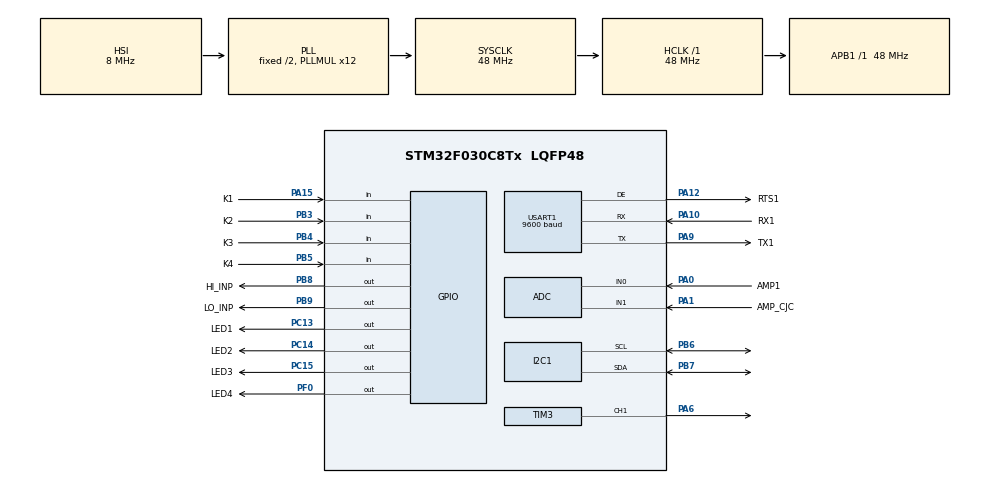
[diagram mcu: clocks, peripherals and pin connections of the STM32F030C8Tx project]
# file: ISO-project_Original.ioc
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ADC.ClockPrescaler=ADC_CLOCK_SYNC_PCLK_DIV4
ADC.ContinuousConvMode=ENABLE
ADC.DMAContinuousRequests=ENABLE
ADC.SamplingTime=ADC_SAMPLETIME_239CYCLES_5
Dma.ADC.0.Direction=DMA_PERIPH_TO_MEMORY
Dma.ADC.0.Instance=DMA1_Channel1
Dma.ADC.0.MemDataAlignment=DMA_MDATAALIGN_HALFWORD
Dma.ADC.0.MemInc=DMA_MINC_ENABLE
Dma.ADC.0.Mode=DMA_CIRCULAR
Dma.ADC.0.PeriphDataAlignment=DMA_PDATAALIGN_HALFWORD
Dma.ADC.0.PeriphInc=DMA_PINC_DISABLE
Dma.ADC.0.Priority=DMA_PRIORITY_VERY_HIGH
Dma.Request0=ADC
Dma.Request1=USART1_TX
Dma.Request2=USART1_RX
Dma.USART1_RX.2.Direction=DMA_PERIPH_TO_MEMORY
Dma.USART1_RX.2.Instance=DMA1_Channel3
Dma.USART1_RX.2.MemDataAlignment=DMA_MDATAALIGN_BYTE
Dma.USART1_RX.2.MemInc=DMA_MINC_ENABLE
Dma.USART1_RX.2.Mode=DMA_CIRCULAR
Dma.USART1_RX.2.PeriphDataAlignment=DMA_PDATAALIGN_BYTE
Dma.USART1_RX.2.PeriphInc=DMA_PINC_DISABLE
Dma.USART1_RX.2.Priority=DMA_PRIORITY_VERY_HIGH
Dma.USART1_TX.1.Direction=DMA_MEMORY_TO_PERIPH
Dma.USART1_TX.1.Instance=DMA1_Channel2
Dma.USART1_TX.1.MemDataAlignment=DMA_MDATAALIGN_BYTE
Dma.USART1_TX.1.MemInc=DMA_MINC_ENABLE
Dma.USART1_TX.1.Mode=DMA_NORMAL
Dma.USART1_TX.1.PeriphDataAlignment=DMA_PDATAALIGN_BYTE
Dma.USART1_TX.1.PeriphInc=DMA_PINC_DISABLE
Dma.USART1_TX.1.Priority=DMA_PRIORITY_MEDIUM
I2C1.Timing=0x00201D2B
Mcu.Family=STM32F0
Mcu.Name=STM32F030C8Tx
Mcu.Package=LQFP48
NVIC.DMA1_Channel1_IRQn=true\:0\:0\:true\:false\:true\:false\:true\:true
NVIC.DMA1_Channel2_3_IRQn=true\:1\:0\:true\:false\:true\:false\:true\:true
NVIC.I2C1_IRQn=true\:0\:0\:true\:false\:true\:true\:true\:true
NVIC.TIM3_IRQn=true\:3\:0\:true\:false\:true\:true\:true\:true
NVIC.USART1_IRQn=true\:1\:0\:true\:false\:true\:true\:true\:true
PA0.GPIO_Label=AMP1
PA0.Mode=IN0
PA0.Signal=ADC_IN0
PA1.GPIO_Label=AMP_CJC
PA1.Mode=IN1
PA1.Signal=ADC_IN1
PA10.GPIO_Label=RX1
PA10.Mode=Asynchronous
PA10.Signal=USART1_RX
PA12.GPIO_Label=RTS1
PA12.Mode=Hardware Flow Control (RS485)
PA12.Signal=USART1_DE
PA13.GPIO_Label=SWDIO
PA13.Mode=Serial_Wire
PA13.Signal=SYS_SWDIO
PA14.GPIO_Label=SWCLK
PA14.Mode=Serial_Wire
PA14.Signal=SYS_SWCLK
PA15.GPIO_Label=K1
PA15.GPIO_PuPd=GPIO_PULLUP
PA15.Signal=GPIO_Input
PA6.Signal=S_TIM3_CH1
PA9.GPIO_Label=TX1
PA9.Mode=Asynchronous
PA9.Signal=USART1_TX
PB3.GPIO_Label=K2
PB3.GPIO_PuPd=GPIO_PULLUP
PB3.Signal=GPIO_Input
PB4.GPIO_Label=K3
PB4.GPIO_PuPd=GPIO_PULLUP
PB4.Signal=GPIO_Input
PB5.GPIO_Label=K4
PB5.GPIO_PuPd=GPIO_PULLUP
PB5.Signal=GPIO_Input
PB6.Mode=I2C
PB6.Signal=I2C1_SCL
PB7.Mode=I2C
PB7.Signal=I2C1_SDA
PB8.GPIO_Label=HI_INP
PB8.Signal=GPIO_Output
PB9.GPIO_Label=LO_INP
PB9.Signal=GPIO_Output
PC13.GPIO_Label=LED1
PC13.Signal=GPIO_Output
PC14-OSC32_IN.GPIO_Label=LED2
PC14-OSC32_IN.Signal=GPIO_Output
PC15-OSC32_OUT.GPIO_Label=LED3
PC15-OSC32_OUT.Signal=GPIO_Output
PF0-OSC_IN.GPIO_Label=LED4
PF0-OSC_IN.Signal=GPIO_Output
ProjectManager.HeapSize=0x200
ProjectManager.StackSize=0x400
ProjectManager.TargetToolchain=STM32CubeIDE
RCC.AHBFreq_Value=48000000
RCC.APB1Freq_Value=48000000
RCC.APB1TimFreq_Value=48000000
RCC.HCLKFreq_Value=48000000
RCC.PLLMUL=RCC_PLL_MUL12
RCC.SYSCLKFreq_VALUE=48000000
RCC.SYSCLKSource=RCC_SYSCLKSOURCE_PLLCLK
SH.S_TIM3_CH1.0=TIM3_CH1,PWM Generation1 CH1
TIM14.Period=9
TIM14.Prescaler=47999
TIM3.AutoReloadPreload=TIM_AUTORELOAD_PRELOAD_ENABLE
TIM3.Channel-PWM\ Generation1\ CH1=TIM_CHANNEL_1
TIM3.Period=2000
TIM3.Prescaler=23
TIM3.Pulse-PWM\ Generation1\ CH1=500
USART1.BaudRate=9600
USART1.UART_DEAssertionTime=1
USART1.UART_DEDeassertionTime=1
USART1.VirtualMode-Asynchronous=VM_ASYNC
USART1.VirtualMode-Hardware\ Flow\ Control\ (RS485)=VM_ASYNC
VP_CRC_VS_CRC.Mode=CRC_Activate
VP_TIM14_VS_ClockSourceINT.Mode=Enable_Timer
VP_TIM3_VS_ClockSourceINT.Mode=Internal
board=custom

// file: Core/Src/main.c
///* USER CODE BEGIN Header */
///**
// ******************************************************************************
// * @file           : main.c
// * @brief          : Main program body
// ******************************************************************************
// * @attention
// *
// * Copyright (c) 2026 STMicroelectronics.
// * All rights reserved.
// *
// * This software is licensed under terms that can be found in the LICENSE file
// * in the root directory of this software component.
// * If no LICENSE file comes with this software, it is provided AS-IS.
// *
// ******************************************************************************
// */
///* USER CODE END Header */
///* Includes ------------------------------------------------------------------*/
//#include "main.h"
//#include "keyboard.h"
//#include "Fram.h"
//#include "ADC.h"
//#include "modbus.h"
//#include "Output.h"
//
///* Private includes ----------------------------------------------------------*/
///* USER CODE BEGIN Includes */
//#define NO_KEY 0x00
///* USER CODE END Includes */
//
///* Private typedef -----------------------------------------------------------*/
///* USER CODE BEGIN PTD */
//
///* USER CODE END PTD */
//
///* Private define ------------------------------------------------------------*/
///* USER CODE BEGIN PD */
//
///* USER CODE END PD */
//
///* Private macro -------------------------------------------------------------*/
///* USER CODE BEGIN PM */
//
///* USER CODE END PM */
//
///* Private variables ---------------------------------------------------------*/
//ADC_HandleTypeDef hadc;
//DMA_HandleTypeDef hdma_adc;
//
//CRC_HandleTypeDef hcrc;
//
//I2C_HandleTypeDef hi2c1;
//
//TIM_HandleTypeDef htim3;
//TIM_HandleTypeDef htim14;
//
//UART_HandleTypeDef huart1;
//DMA_HandleTypeDef hdma_usart1_tx;
//DMA_HandleTypeDef hdma_usart1_rx;
//
///* USER CODE BEGIN PV */
////extern I2C_HandleTypeDef hi2c1;  // From CubeMX
//FRAM_Config_t device_config;
//extern ADC_Handle_t ADCHandler;
////extern
///* USER CODE END PV */
//
///* Private function prototypes -----------------------------------------------*/
//void SystemClock_Config(void);
//static void MX_GPIO_Init(void);
//static void MX_DMA_Init(void);
//static void MX_ADC_Init(void);
//static void MX_CRC_Init(void);
//static void MX_I2C1_Init(void);
//static void MX_TIM3_Init(void);
//static void MX_TIM14_Init(void);
//static void MX_USART1_UART_Init(void);
//
//extern void ADC_Save_Calibration_To_Config(FRAM_Config_t *config);
//extern void ADC_Restore_Calibration_From_Config(FRAM_Config_t *config);
///* USER CODE BEGIN PFP */
//
///* USER CODE END PFP */
//
///* Private user code ---------------------------------------------------------*/
///* USER CODE BEGIN 0 */
//
///* USER CODE END 0 */
//
///**
// * @brief  The application entry point.
// * @retval int
// */
//int main(void)
//{
//
//	/* USER CODE BEGIN 1 */
//
//	/* USER CODE END 1 */
//
//	/* MCU Configuration--------------------------------------------------------*/
//
//	/* Reset of all peripherals, Initializes the Flash interface and the Systick. */
//	HAL_Init();
//
//	/* USER CODE BEGIN Init */
//
//	/* USER CODE END Init */
//
//	/* Configure the system clock */
//	SystemClock_Config();
//
//	/* USER CODE BEGIN SysInit */
//
//	/* USER CODE END SysInit */
//
//	/* Initialize all configured peripherals */
//	MX_GPIO_Init();
//	MX_DMA_Init();
//	MX_ADC_Init();
//	MX_CRC_Init();
//	MX_I2C1_Init();
//	MX_TIM3_Init();
//	MX_TIM14_Init();
//	MX_USART1_UART_Init();
//	/* USER CODE BEGIN 2 */
//	//	void PowerON_Initilization(void);
//	Keyboard_Init();
//	//	FRAM_Init(&hi2c1);
//	//	ADC_Init(&hadc);
//	// Try to initialize FRAM hardware
//	bool fram_ok = FRAM_Init(&hi2c1);
//
//	if (fram_ok) {
//		// FRAM hardware OK - try to read saved config
//		if (FRAM_Read_Config(&device_config)) {
//			// Config loaded from FRAM successfully
//			ADC_Restore_Calibration_From_Config(&device_config);
//			AnalogOutput_Set_Calibration(device_config.cal_output_lo,
//					device_config.cal_output_hi);
//			Keyboard_SetMode(MODE_NORMAL);
//		} else {
//			// FRAM read failed - config is corrupted or empty
//			// DON'T auto-restore - just set error mode
//			Keyboard_SetMode(MODE_MEMORY_CORRUPT);
//			// Device will use whatever values are in device_config structure
//		}
//	} else {
//		// FRAM hardware not responding
//		Keyboard_SetMode(MODE_MEMORY_CORRUPT);
//	}
//
//
//
//	//	HAL_StatusTypeDef ret = FRAM_Init(&hi2c1);
//	ADC_Init(&hadc);
//	Modbus_Init(&huart1);
//	AnalogOutput_Init(&htim3);
//
//	// Configure ADC from FRAM
//	ADC_Set_Sensor_Type(device_config.input_type);
//	ADC_Set_Range(device_config.input_low, device_config.input_high);
//	ADC_Set_Offset(device_config.offset_input);
//	//	Modbus_Set_Slave_ID(device_config.slave_id);
//	Modbus_Set_Slave_ID(1);
//	Modbus_Enable(1);
//	//	Modbus_Enable(device_config.comm_enable);
//
//
//	AnalogOutput_Set_Range(device_config.output_low, device_config.output_high);
//	AnalogOutput_Set_Direction(device_config.output_direction);
//	AnalogOutput_Set_Offset(device_config.offset_output);
//	AnalogOutput_Set_Decimal(device_config.output_decimal);
//	/* USER CODE END 2 */
//
//	/* Infinite loop */
//	/* USER CODE BEGIN WHILE */
//	while (1)
//	{
//		/* USER CODE END WHILE */
//
//		/* USER CODE BEGIN 3 */
//
//		ADC_Process();  // Process ADC readings
//		Modbus_Process();
//
//		// ===== REFERENCE PATTERN START =====
//		Keyboard.KeyPressed = Read_Keys();
//
//		if (Keyboard.KeyPressed == NO_KEY) {
//			// Reset fast value change counter when no key pressed
//			Keyboard.New_Val = 0;
//		}
//		else {
//			// Key is pressed
//
//			// Check for power-on combination
//			Keyboard_Scan();  // Handles K3+K4 at power-on
//
//			// Process based on calibration mode
//			if (CAL_Flag == NORMAL_MODE) {
//				Keycheck_Normal();       // Process normal mode keys (includes long-press combos)
//			}
//			else if (CAL_Flag == CAL_MODE) {
//				Keycheck_Calibration();  // Process calibration mode keys
//			}
//
//			// Wait for key release (except for UP/DOWN which can repeat)
////			if ((Keyboard.KeyPressed != KEY_DOWN) && (Keyboard.KeyPressed != KEY_UP)) {
////				while (Read_key() != NO_KEY);
////			}
//
////			if ((Keyboard.KeyPressed != KEY_DOWN) && (Keyboard.KeyPressed != KEY_UP)) {
////			    Keyboard.KeyPressed = NO_KEY;  // ✓ Just clear it, don't block
////			}//05/03/2026
//
//
//			/*if (Keyboard.KeyPressed == KEY_ENTER) {
//				while (Read_Keys() & KEY_ENTER) {
//					HAL_Delay(10);
//				}
//				HAL_Delay(50);  // debounce after release
//				Keyboard.KeyPressed = NO_KEY;
//			}
//			else*/ if ((Keyboard.KeyPressed != KEY_DOWN) && (Keyboard.KeyPressed != KEY_UP)) {
//			    Keyboard.KeyPressed = NO_KEY;
//			}
//		}
//
//		Keyboard_LED_Update();  // Update LED patterns
//		// ===== REFERENCE PATTERN END =====
//
//		// FRAM write handling
//		if (ModbusHandler.pending_fram_write) {
//			HAL_Delay(50);
//			bool write_ok = FRAM_Write_Config(&device_config);
//			ModbusHandler.pending_fram_write = false;
//			if (write_ok) {
//				HAL_GPIO_TogglePin(LED1_GPIO_Port, LED1_Pin);
//			}
//		}
//
//		// Check for sensor fault
//		bool sensor_fault = ADC_Is_Sensor_Fault();
//		AnalogOutput_Set_Fault(sensor_fault);
//
////		if (sensor_fault) {
////			Keyboard_SetMode(MODE_SENSOR_BROKE);
////		}
//
//		// Get current mode
//		    OperationMode_e current_mode = Keyboard_GetMode();
//
//		    if (sensor_fault) {
//		        // Fault detected - go to fault mode (but preserve calibration modes!)
////		        if (current_mode != MODE_INPUT_CAL_LOW &&
////		            current_mode != MODE_INPUT_CAL_HIGH &&
////		            current_mode != MODE_OUTPUT_CAL_LOW &&
////		            current_mode != MODE_OUTPUT_CAL_HIGH)
//		    	if (current_mode != MODE_INPUT_CAL      &&
//		    	        current_mode != MODE_INPUT_CAL_LOW  &&
//		    	        current_mode != MODE_INPUT_CAL_HIGH &&
//		    	        current_mode != MODE_INPUT_CAL_DONE &&
//		    	        current_mode != MODE_OUTPUT_CAL     &&
//		    	        current_mode != MODE_OUTPUT_CAL_LOW &&
//		    	        current_mode != MODE_OUTPUT_CAL_HIGH&&
//		    	        current_mode != MODE_OUTPUT_CAL_DONE){
//		            Keyboard_SetMode(MODE_SENSOR_BROKE);
//		        }
//		    } else {
//		        // Fault cleared - AUTO-RECOVER to normal mode!
//		        if (current_mode == MODE_SENSOR_BROKE) {
//		            Keyboard_SetMode(MODE_NORMAL);  // ← AUTO-RECOVERY!
//		        }
//		    }
//
//
//
//		// Update analog output
//		float input_value = ADC_Get_Float_Value();
//		AnalogOutput_Update(input_value,
//				(float)device_config.input_low,
//				(float)device_config.input_high);
//
//		// Handle calibration value changes
//		OperationMode_e mode = Keyboard_GetMode();
//		uint8_t key = Keyboard.KeyPressed;  // From structure now
//
//
//
//		switch (mode) {
//		case MODE_INPUT_CAL_LOW:
//			if (key == KEY_UP) {
//			        if (device_config.cal_input_lo < 65535) device_config.cal_input_lo++;
//			        if (Keyboard.Fast_Value_Change) {
//			            Fast_value_Inc();
//			            if (device_config.cal_input_lo > (65535 - Keyboard.New_Val))
//			                device_config.cal_input_lo = 65535;
//			            else
//			                device_config.cal_input_lo += Keyboard.New_Val;
//			        }
//			    }
//			    if (key == KEY_DOWN) {
//			        if (device_config.cal_input_lo > 0) device_config.cal_input_lo--;   // guard underflow
//			        if (Keyboard.Fast_Value_Change) {
//			            Fast_value_Dec();
//			            if (device_config.cal_input_lo >= Keyboard.New_Val)
//			                device_config.cal_input_lo -= Keyboard.New_Val;
//			            else
//			                device_config.cal_input_lo = 0;
//			        }
//			    }
//			    device_config.Inp_Cal_code1 = ADCHandler.adc_raw;
//			    break;
//
//		case MODE_INPUT_CAL_HIGH:
//			 if (key == KEY_UP) {
//			        if (device_config.cal_input_hi < 65535) device_config.cal_input_hi++;
//			        if (Keyboard.Fast_Value_Change) {
//			            Fast_value_Inc();
//			            if (device_config.cal_input_hi > (65535 - Keyboard.New_Val))
//			                device_config.cal_input_hi = 65535;
//			            else
//			                device_config.cal_input_hi += Keyboard.New_Val;
//			        }
//			    }
//			    if (key == KEY_DOWN) {
//			        if (device_config.cal_input_hi > 0) device_config.cal_input_hi--;
//			        if (Keyboard.Fast_Value_Change) {
//			            Fast_value_Dec();
//			            if (device_config.cal_input_hi >= Keyboard.New_Val)
//			                device_config.cal_input_hi -= Keyboard.New_Val;
//			            else
//			                device_config.cal_input_hi = 0;
//			        }
//			    }
//			    device_config.Inp_Cal_code2 = ADCHandler.adc_raw;
//			    break;
//		case MODE_OUTPUT_CAL_LOW:
//
//			AnalogOutput_Calibration_Bypass(true);
//
//			    if (key == KEY_UP) {
//			        if (device_config.cal_output_lo < 2000) device_config.cal_output_lo++;
//			        if (Keyboard.Fast_Value_Change) {
//			            Fast_value_Inc();
//			            device_config.cal_output_lo += Keyboard.New_Val;
//			            if (device_config.cal_output_lo > 2000) device_config.cal_output_lo = 2000;
//			        }
//			    }
//			    if (key == KEY_DOWN) {
//			        if (device_config.cal_output_lo > 0) device_config.cal_output_lo--;   // guard underflow
//			        if (Keyboard.Fast_Value_Change) {
//			            Fast_value_Dec();
//			            if (device_config.cal_output_lo >= Keyboard.New_Val)
//			                device_config.cal_output_lo -= Keyboard.New_Val;
//			            else
//			                device_config.cal_output_lo = 0;                              // floor, don't wrap
//			        }
//			    }
//
//			    AnalogOutput_Set_Raw_PWM(device_config.cal_output_lo);
//			    break;
//
//		case MODE_OUTPUT_CAL_HIGH:
//
//			AnalogOutput_Calibration_Bypass(true);
//
//			    if (key == KEY_UP) {
//			        if (device_config.cal_output_hi < 2000) device_config.cal_output_hi++;
//			        if (Keyboard.Fast_Value_Change) {
//			            Fast_value_Inc();
//			            device_config.cal_output_hi += Keyboard.New_Val;
//			            if (device_config.cal_output_hi > 2000) device_config.cal_output_hi = 2000;
//			        }
//			    }
//			    if (key == KEY_DOWN) {
//			        if (device_config.cal_output_hi > 0) device_config.cal_output_hi--;
//			        if (Keyboard.Fast_Value_Change) {
//			            Fast_value_Dec();
//			            if (device_config.cal_output_hi >= Keyboard.New_Val)
//			                device_config.cal_output_hi -= Keyboard.New_Val;
//			            else
//			                device_config.cal_output_hi = 0;
//			        }
//			    }
//
//			    AnalogOutput_Set_Raw_PWM(device_config.cal_output_hi);
//			    break;
//
//		case MODE_INPUT_CAL_DONE:
//		    ADC_Calibrate((float)device_config.cal_input_lo,
//		            (float)device_config.cal_input_hi,
//		            (float)device_config.Inp_Cal_code1,
//		            (float)device_config.Inp_Cal_code2);
//
//		    ADC_Save_Calibration_To_Config(&device_config);
//		    FRAM_Write_Config(&device_config);
//		    break;
//
//		case MODE_OUTPUT_CAL_DONE:
//		    // Disable bypass mode - return to normal temperature scaling
//		    AnalogOutput_Calibration_Bypass(false);
//
//		    // Apply the final calibration values
//		    AnalogOutput_Set_Calibration(device_config.cal_output_lo,
//		                                 device_config.cal_output_hi);
//
//		    // Save to FRAM
//		    FRAM_Write_Config(&device_config);
//		    break;
//
//		case MODE_RESTORE_CAL:
//		    // Restore factory defaults
//		    FRAM_Restore_Defaults();
//
//		    // Read back the defaults
//		    FRAM_Read_Config(&device_config);
//
//		    // Restore ADC calibration
//		    ADC_Restore_Calibration_From_Config(&device_config);
//
//		    // Restore PWM calibration
//		    AnalogOutput_Set_Calibration(device_config.cal_output_lo,
//		                                 device_config.cal_output_hi);
//		    break;
//
//
//		case MODE_PWM_TEST:
//		{
//		    static uint16_t pwm_test_value = 0;   // Start at 0, not 500
//
//		    AnalogOutput_Calibration_Bypass(true);
//
//		    if (key == KEY_UP) {
//		        if (pwm_test_value < 2000) pwm_test_value++;   // Guard before increment
//		        if (Keyboard.Fast_Value_Change) {
//		            Fast_value_Inc();
//		            pwm_test_value += Keyboard.New_Val;
//		            if (pwm_test_value > 2000) pwm_test_value = 2000;
//		        }
//		    }
//		    if (key == KEY_DOWN) {
//		        if (pwm_test_value > 0) pwm_test_value--;      // Guard: uint16_t can't go negative
//		        if (Keyboard.Fast_Value_Change) {
//		            Fast_value_Dec();
//		            if (pwm_test_value >= Keyboard.New_Val)
//		                pwm_test_value -= Keyboard.New_Val;
//		            else
//		                pwm_test_value = 0;
//		        }
//		    }
//
//		    AnalogOutput_Set_Raw_PWM(pwm_test_value);
//
//		    if (key == KEY_ENTER) {
//		        pwm_test_value = 0;                            // Reset for next entry
//		        AnalogOutput_Calibration_Bypass(false);
//		        Keyboard_SetMode(MODE_NORMAL);
//		    }
//		}
//		break;
//
//
//
//
//		default:
//		    break;
//		}
//
//
//
//		HAL_Delay(10);
//	}
//	/* USER CODE END 3 */
//}
//
///**
// * @brief System Clock Configuration
// * @retval None
// */
//void SystemClock_Config(void)
//{
//	RCC_OscInitTypeDef RCC_OscInitStruct = {0};
//	RCC_ClkInitTypeDef RCC_ClkInitStruct = {0};
//	RCC_PeriphCLKInitTypeDef PeriphClkInit = {0};
//
//	/** Initializes the RCC Oscillators according to the specified parameters
//	 * in the RCC_OscInitTypeDef structure.
//	 */
//	RCC_OscInitStruct.OscillatorType = RCC_OSCILLATORTYPE_HSI;
//	RCC_OscInitStruct.HSIState = RCC_HSI_ON;
//	RCC_OscInitStruct.HSICalibrationValue = RCC_HSICALIBRATION_DEFAULT;
//	RCC_OscInitStruct.PLL.PLLState = RCC_PLL_ON;
//	RCC_OscInitStruct.PLL.PLLSource = RCC_PLLSOURCE_HSI;
//	RCC_OscInitStruct.PLL.PLLMUL = RCC_PLL_MUL12;
//	RCC_OscInitStruct.PLL.PREDIV = RCC_PREDIV_DIV1;
//	if (HAL_RCC_OscConfig(&RCC_OscInitStruct) != HAL_OK)
//	{
//		Error_Handler();
//	}
//
//	/** Initializes the CPU, AHB and APB buses clocks
//	 */
//	RCC_ClkInitStruct.ClockType = RCC_CLOCKTYPE_HCLK|RCC_CLOCKTYPE_SYSCLK
//			|RCC_CLOCKTYPE_PCLK1;
//	RCC_ClkInitStruct.SYSCLKSource = RCC_SYSCLKSOURCE_PLLCLK;
//	RCC_ClkInitStruct.AHBCLKDivider = RCC_SYSCLK_DIV1;
//	RCC_ClkInitStruct.APB1CLKDivider = RCC_HCLK_DIV1;
//
//	if (HAL_RCC_ClockConfig(&RCC_ClkInitStruct, FLASH_LATENCY_1) != HAL_OK)
//	{
//		Error_Handler();
//	}
//	PeriphClkInit.PeriphClockSelection = RCC_PERIPHCLK_USART1|RCC_PERIPHCLK_I2C1;
//	PeriphClkInit.Usart1ClockSelection = RCC_USART1CLKSOURCE_PCLK1;
//	PeriphClkInit.I2c1ClockSelection = RCC_I2C1CLKSOURCE_HSI;
//	if (HAL_RCCEx_PeriphCLKConfig(&PeriphClkInit) != HAL_OK)
//	{
//		Error_Handler();
//	}
//}
//
///**
// * @brief ADC Initialization Function
// * @param None
// * @retval None
// */
//static void MX_ADC_Init(void)
//{
//
//	/* USER CODE BEGIN ADC_Init 0 */
//
//	/* USER CODE END ADC_Init 0 */
//
//	ADC_ChannelConfTypeDef sConfig = {0};
//
//	/* USER CODE BEGIN ADC_Init 1 */
//
//	/* USER CODE END ADC_Init 1 */
//
//	/** Configure the global features of the ADC (Clock, Resolution, Data Alignment and number of conversion)
//	 */
//	hadc.Instance = ADC1;
//	hadc.Init.ClockPrescaler = ADC_CLOCK_SYNC_PCLK_DIV4;
//	hadc.Init.Resolution = ADC_RESOLUTION_12B;
//	hadc.Init.DataAlign = ADC_DATAALIGN_RIGHT;
//	hadc.Init.ScanConvMode = ADC_SCAN_DIRECTION_FORWARD;
//	hadc.Init.EOCSelection = ADC_EOC_SINGLE_CONV;
//	hadc.Init.LowPowerAutoWait = DISABLE;
//	hadc.Init.LowPowerAutoPowerOff = DISABLE;
//	hadc.Init.ContinuousConvMode = ENABLE;
//	hadc.Init.DiscontinuousConvMode = DISABLE;
//	hadc.Init.ExternalTrigConv = ADC_SOFTWARE_START;
//	hadc.Init.ExternalTrigConvEdge = ADC_EXTERNALTRIGCONVEDGE_NONE;
//	hadc.Init.DMAContinuousRequests = ENABLE;
//	hadc.Init.Overrun = ADC_OVR_DATA_PRESERVED;
//	if (HAL_ADC_Init(&hadc) != HAL_OK)
//	{
//		Error_Handler();
//	}
//
//	/** Configure for the selected ADC regular channel to be converted.
//	 */
//	sConfig.Channel = ADC_CHANNEL_0;
//	sConfig.Rank = ADC_RANK_CHANNEL_NUMBER;
//	sConfig.SamplingTime = ADC_SAMPLETIME_239CYCLES_5;
//	if (HAL_ADC_ConfigChannel(&hadc, &sConfig) != HAL_OK)
//	{
//		Error_Handler();
//	}
//
//	/** Configure for the selected ADC regular channel to be converted.
//	 */
//	sConfig.Channel = ADC_CHANNEL_1;
//	if (HAL_ADC_ConfigChannel(&hadc, &sConfig) != HAL_OK)
//	{
//		Error_Handler();
//	}
//	/* USER CODE BEGIN ADC_Init 2 */
//
//	/* USER CODE END ADC_Init 2 */
//
//}
//
///**
// * @brief CRC Initialization Function
// * @param None
// * @retval None
// */
//static void MX_CRC_Init(void)
//{
//
//	/* USER CODE BEGIN CRC_Init 0 */
//
//	/* USER CODE END CRC_Init 0 */
//
//	/* USER CODE BEGIN CRC_Init 1 */
//
//	/* USER CODE END CRC_Init 1 */
//	hcrc.Instance = CRC;
//	hcrc.Init.DefaultInitValueUse = DEFAULT_INIT_VALUE_ENABLE;
//	hcrc.Init.InputDataInversionMode = CRC_INPUTDATA_INVERSION_NONE;
//	hcrc.Init.OutputDataInversionMode = CRC_OUTPUTDATA_INVERSION_DISABLE;
//	hcrc.InputDataFormat = CRC_INPUTDATA_FORMAT_BYTES;
//	if (HAL_CRC_Init(&hcrc) != HAL_OK)
//	{
//		Error_Handler();
//	}
//	/* USER CODE BEGIN CRC_Init 2 */
//
//	/* USER CODE END CRC_Init 2 */
//
//}
//
///**
// * @brief I2C1 Initialization Function
// * @param None
// * @retval None
// */
//static void MX_I2C1_Init(void)
//{
//
//	/* USER CODE BEGIN I2C1_Init 0 */
//
//	/* USER CODE END I2C1_Init 0 */
//
//	/* USER CODE BEGIN I2C1_Init 1 */
//
//	/* USER CODE END I2C1_Init 1 */
//	hi2c1.Instance = I2C1;
//	hi2c1.Init.Timing = 0x00201D2B;
//	hi2c1.Init.OwnAddress1 = 0;
//	hi2c1.Init.AddressingMode = I2C_ADDRESSINGMODE_7BIT;
//	hi2c1.Init.DualAddressMode = I2C_DUALADDRESS_DISABLE;
//	hi2c1.Init.OwnAddress2 = 0;
//	hi2c1.Init.OwnAddress2Masks = I2C_OA2_NOMASK;
//	hi2c1.Init.GeneralCallMode = I2C_GENERALCALL_DISABLE;
//	hi2c1.Init.NoStretchMode = I2C_NOSTRETCH_DISABLE;
//	if (HAL_I2C_Init(&hi2c1) != HAL_OK)
//	{
//		Error_Handler();
//	}
//
//	/** Configure Analogue filter
//	 */
//	if (HAL_I2CEx_ConfigAnalogFilter(&hi2c1, I2C_ANALOGFILTER_ENABLE) != HAL_OK)
//	{
//		Error_Handler();
//	}
//
//	/** Configure Digital filter
//	 */
//	if (HAL_I2CEx_ConfigDigitalFilter(&hi2c1, 0) != HAL_OK)
//	{
//		Error_Handler();
//	}
//	/* USER CODE BEGIN I2C1_Init 2 */
//
//	/* USER CODE END I2C1_Init 2 */
//
//}
//
///**
// * @brief TIM3 Initialization Function
// * @param None
// * @retval None
// */
//static void MX_TIM3_Init(void)
//{
//
//	/* USER CODE BEGIN TIM3_Init 0 */
//
//	/* USER CODE END TIM3_Init 0 */
//
//	TIM_ClockConfigTypeDef sClockSourceConfig = {0};
//	TIM_MasterConfigTypeDef sMasterConfig = {0};
//	TIM_OC_InitTypeDef sConfigOC = {0};
//
//	/* USER CODE BEGIN TIM3_Init 1 */
//
//	/* USER CODE END TIM3_Init 1 */
//	htim3.Instance = TIM3;
//	htim3.Init.Prescaler = 11;//23;
//	htim3.Init.CounterMode = TIM_COUNTERMODE_UP;
//	htim3.Init.Period = 2000;
//			//1000;
//	htim3.Init.ClockDivision = TIM_CLOCKDIVISION_DIV1;
//	htim3.Init.AutoReloadPreload = TIM_AUTORELOAD_PRELOAD_ENABLE;
//	if (HAL_TIM_Base_Init(&htim3) != HAL_OK)
//	{
//		Error_Handler();
//	}
//	sClockSourceConfig.ClockSource = TIM_CLOCKSOURCE_INTERNAL;
//	if (HAL_TIM_ConfigClockSource(&htim3, &sClockSourceConfig) != HAL_OK)
//	{
//		Error_Handler();
//	}
//	if (HAL_TIM_PWM_Init(&htim3) != HAL_OK)
//	{
//		Error_Handler();
//	}
//	sMasterConfig.MasterOutputTrigger = TIM_TRGO_RESET;
//	sMasterConfig.MasterSlaveMode = TIM_MASTERSLAVEMODE_DISABLE;
//	if (HAL_TIMEx_MasterConfigSynchronization(&htim3, &sMasterConfig) != HAL_OK)
//	{
//		Error_Handler();
//	}
//	sConfigOC.OCMode = TIM_OCMODE_PWM1;
//	sConfigOC.Pulse = 0;
//	sConfigOC.OCPolarity = TIM_OCPOLARITY_HIGH;
//	sConfigOC.OCFastMode = TIM_OCFAST_DISABLE;
//	if (HAL_TIM_PWM_ConfigChannel(&htim3, &sConfigOC, TIM_CHANNEL_1) != HAL_OK)
//	{
//		Error_Handler();
//	}
//	/* USER CODE BEGIN TIM3_Init 2 */
//
//	/* USER CODE END TIM3_Init 2 */
//	HAL_TIM_MspPostInit(&htim3);
//
//}
//
///**
// * @brief TIM14 Initialization Function
// * @param None
// * @retval None
// */
//static void MX_TIM14_Init(void)
//{
//
//	/* USER CODE BEGIN TIM14_Init 0 */
//
//	/* USER CODE END TIM14_Init 0 */
//
//	/* USER CODE BEGIN TIM14_Init 1 */
//
//	/* USER CODE END TIM14_Init 1 */
//	htim14.Instance = TIM14;
//	htim14.Init.Prescaler = 47999;
//	htim14.Init.CounterMode = TIM_COUNTERMODE_UP;
//	htim14.Init.Period = 9;
//	htim14.Init.ClockDivision = TIM_CLOCKDIVISION_DIV1;
//	htim14.Init.AutoReloadPreload = TIM_AUTORELOAD_PRELOAD_DISABLE;
//	if (HAL_TIM_Base_Init(&htim14) != HAL_OK)
//	{
//		Error_Handler();
//	}
//	/* USER CODE BEGIN TIM14_Init 2 */
//
//	/* USER CODE END TIM14_Init 2 */
//
//}
//
///**
// * @brief USART1 Initialization Function
// * @param None
// * @retval None
// */
//static void MX_USART1_UART_Init(void)
//{
//
//	/* USER CODE BEGIN USART1_Init 0 */
//
//	/* USER CODE END USART1_Init 0 */
//
//	/* USER CODE BEGIN USART1_Init 1 */
//
//	/* USER CODE END USART1_Init 1 */
//	huart1.Instance = USART1;
//	huart1.Init.BaudRate = 9600;
//	huart1.Init.WordLength = UART_WORDLENGTH_8B;
//	huart1.Init.StopBits = UART_STOPBITS_1;
//	huart1.Init.Parity = UART_PARITY_NONE;
//	huart1.Init.Mode = UART_MODE_TX_RX;
//	huart1.Init.HwFlowCtl = UART_HWCONTROL_NONE;
//	huart1.Init.OverSampling = UART_OVERSAMPLING_16;
//	huart1.Init.OneBitSampling = UART_ONE_BIT_SAMPLE_DISABLE;
//	huart1.AdvancedInit.AdvFeatureInit = UART_ADVFEATURE_NO_INIT;
//	if (HAL_RS485Ex_Init(&huart1, UART_DE_POLARITY_HIGH, 1, 1) != HAL_OK)
//	{
//		Error_Handler();
//	}
//	/* USER CODE BEGIN USART1_Init 2 */
//
//	/* USER CODE END USART1_Init 2 */
//
//}
//
///**
// * Enable DMA controller clock
// */
//static void MX_DMA_Init(void)
//{
//
//	/* DMA controller clock enable */
//	__HAL_RCC_DMA1_CLK_ENABLE();
//
//	/* DMA interrupt init */
//	/* DMA1_Channel1_IRQn interrupt configuration */
//	HAL_NVIC_SetPriority(DMA1_Channel1_IRQn, 0, 0);
//	HAL_NVIC_EnableIRQ(DMA1_Channel1_IRQn);
//	/* DMA1_Channel2_3_IRQn interrupt configuration */
//	HAL_NVIC_SetPriority(DMA1_Channel2_3_IRQn, 1, 0);
//	HAL_NVIC_EnableIRQ(DMA1_Channel2_3_IRQn);
//
//}
//
///**
// * @brief GPIO Initialization Function
// * @param None
// * @retval None
// */
//static void MX_GPIO_Init(void)
//{
//	GPIO_InitTypeDef GPIO_InitStruct = {0};
//	/* USER CODE BEGIN MX_GPIO_Init_1 */
//
//	/* USER CODE END MX_GPIO_Init_1 */
//
//	/* GPIO Ports Clock Enable */
//	__HAL_RCC_GPIOC_CLK_ENABLE();
//	__HAL_RCC_GPIOF_CLK_ENABLE();
//	__HAL_RCC_GPIOA_CLK_ENABLE();
//	__HAL_RCC_GPIOB_CLK_ENABLE();
//
//	/*Configure GPIO pin Output Level */
//	HAL_GPIO_WritePin(GPIOC, LED1_Pin|LED2_Pin|LED3_Pin, GPIO_PIN_RESET);
//
//	/*Configure GPIO pin Output Level */
//	HAL_GPIO_WritePin(LED4_GPIO_Port, LED4_Pin, GPIO_PIN_RESET);
//
//	/*Configure GPIO pin Output Level */
//	HAL_GPIO_WritePin(GPIOB, HI_INP_Pin|LO_INP_Pin, GPIO_PIN_RESET);
//
//	/*Configure GPIO pins : LED1_Pin LED2_Pin LED3_Pin */
//	GPIO_InitStruct.Pin = LED1_Pin|LED2_Pin|LED3_Pin;
//	GPIO_InitStruct.Mode = GPIO_MODE_OUTPUT_PP;
//	GPIO_InitStruct.Pull = GPIO_NOPULL;
//	GPIO_InitStruct.Speed = GPIO_SPEED_FREQ_LOW;
//	HAL_GPIO_Init(GPIOC, &GPIO_InitStruct);
//
//	/*Configure GPIO pin : LED4_Pin */
//	GPIO_InitStruct.Pin = LED4_Pin;
//	GPIO_InitStruct.Mode = GPIO_MODE_OUTPUT_PP;
//	GPIO_InitStruct.Pull = GPIO_NOPULL;
//	GPIO_InitStruct.Speed = GPIO_SPEED_FREQ_LOW;
//	HAL_GPIO_Init(LED4_GPIO_Port, &GPIO_InitStruct);
//
//	/*Configure GPIO pin : K1_Pin */
//	GPIO_InitStruct.Pin = K1_Pin;
//	GPIO_InitStruct.Mode = GPIO_MODE_INPUT;
//	GPIO_InitStruct.Pull = GPIO_PULLUP;
//	HAL_GPIO_Init(K1_GPIO_Port, &GPIO_InitStruct);
//
//	/*Configure GPIO pins : K2_Pin K3_Pin K4_Pin */
//	GPIO_InitStruct.Pin = K2_Pin|K3_Pin|K4_Pin;
//	GPIO_InitStruct.Mode = GPIO_MODE_INPUT;
//	GPIO_InitStruct.Pull = GPIO_PULLUP;
//	HAL_GPIO_Init(GPIOB, &GPIO_InitStruct);
//
//	/*Configure GPIO pins : HI_INP_Pin LO_INP_Pin */
//	GPIO_InitStruct.Pin = HI_INP_Pin|LO_INP_Pin;
//	GPIO_InitStruct.Mode = GPIO_MODE_OUTPUT_PP;
//	GPIO_InitStruct.Pull = GPIO_NOPULL;
//	GPIO_InitStruct.Speed = GPIO_SPEED_FREQ_LOW;
//	HAL_GPIO_Init(GPIOB, &GPIO_InitStruct);
//
//	/* USER CODE BEGIN MX_GPIO_Init_2 */
//	HAL_GPIO_WritePin(GPIOC, LED1_Pin|LED2_Pin|LED3_Pin, GPIO_PIN_SET);
//	HAL_GPIO_WritePin(GPIOB, HI_INP_Pin|LO_INP_Pin, GPIO_PIN_SET);
//	HAL_GPIO_WritePin(LED4_GPIO_Port, LED4_Pin, GPIO_PIN_SET);
//
//	/* USER CODE END MX_GPIO_Init_2 */
//}
//
///* USER CODE BEGIN 4 */
//
///* USER CODE END 4 */
//
///**
// * @brief  This function is executed in case of error occurrence.
// * @retval None
// */
//void Error_Handler(void)
//{
//	/* USER CODE BEGIN Error_Handler_Debug */
//	/* User can add his own implementation to report the HAL error return state */
//	__disable_irq();
//	while (1)
//	{
//	}
//	/* USER CODE END Error_Handler_Debug */
//}
//
//#ifdef  USE_FULL_ASSERT
///**
// * @brief  Reports the name of the source file and the source line number
// *         where the assert_param error has occurred.
// * @param  file: pointer to the source file name
// * @param  line: assert_param error line source number
// * @retval None
// */
//void assert_failed(uint8_t *file, uint32_t line)
//{
//	/* USER CODE BEGIN 6 */
//	/* User can add his own implementation to report the file name and line number,
//     ex: printf("Wrong parameters value: file %s on line %d\r\n", file, line) */
//	/* USER CODE END 6 */
//}
//#endif /* USE_FULL_ASSERT */
/* USER CODE BEGIN Header */
/**
 ******************************************************************************
 * @file           : main.c
 * @brief          : Main program body
 ******************************************************************************
 * @attention
 *
 * Copyright (c) 2026 STMicroelectronics.
 * All rights reserved.
 *
 * This software is licensed under terms that can be found in the LICENSE file
 * in the root directory of this software component.
 * If no LICENSE file comes with this software, it is provided AS-IS.
 *
 ******************************************************************************
 */
/* USER CODE END Header */
#include "main.h"
#include "keyboard.h"
#include "Fram.h"
#include "ADC.h"
#include "modbus.h"
#include "Output.h"

/* USER CODE BEGIN Includes */
#define NO_KEY 0x00
/* USER CODE END Includes */

ADC_HandleTypeDef hadc;
DMA_HandleTypeDef hdma_adc;

CRC_HandleTypeDef hcrc;

I2C_HandleTypeDef hi2c1;

TIM_HandleTypeDef htim3;
TIM_HandleTypeDef htim14;

UART_HandleTypeDef huart1;
DMA_HandleTypeDef hdma_usart1_tx;
DMA_HandleTypeDef hdma_usart1_rx;

/* USER CODE BEGIN PV */
//extern I2C_HandleTypeDef hi2c1;  // From CubeMX
FRAM_Config_t device_config;
extern ADC_Handle_t ADCHandler;
//extern
/* USER CODE END PV */

void SystemClock_Config(void);
static void MX_GPIO_Init(void);
static void MX_DMA_Init(void);
static void MX_ADC_Init(void);
static void MX_CRC_Init(void);
static void MX_I2C1_Init(void);
static void MX_TIM3_Init(void);
static void MX_TIM14_Init(void);
static void MX_USART1_UART_Init(void);

extern void ADC_Save_Calibration_To_Config(FRAM_Config_t *config);
extern void ADC_Restore_Calibration_From_Config(FRAM_Config_t *config);

int main(void)
{

	/* MCU Configuration--------------------------------------------------------*/

	/* Reset of all peripherals, Initializes the Flash interface and the Systick. */
	HAL_Init();

	/* Configure the system clock */
	SystemClock_Config();

	/* Initialize all configured peripherals */
	MX_GPIO_Init();
	MX_DMA_Init();
	MX_ADC_Init();
	MX_CRC_Init();
	MX_I2C1_Init();
	MX_TIM3_Init();
	MX_TIM14_Init();
	MX_USART1_UART_Init();
	/* USER CODE BEGIN 2 */
	//	void PowerON_Initilization(void);
	Keyboard_Init();
	//	FRAM_Init(&hi2c1);
	//	ADC_Init(&hadc);
	// Try to initialize FRAM hardware
	bool fram_ok = FRAM_Init(&hi2c1);

	if (fram_ok) {
		// FRAM hardware OK - try to read saved config
		if (FRAM_Read_Config(&device_config)) {
			// Config loaded from FRAM successfully
			ADC_Restore_Calibration_From_Config(&device_config);
			AnalogOutput_Set_Calibration(device_config.cal_output_lo,
					device_config.cal_output_hi);
			Keyboard_SetMode(MODE_NORMAL);
		} else {
			// FRAM read failed - config is corrupted or empty
			// DON'T auto-restore - just set error mode
			Keyboard_SetMode(MODE_MEMORY_CORRUPT);
			// Device will use whatever values are in device_config structure
		}
	} else {
		// FRAM hardware not responding
		Keyboard_SetMode(MODE_MEMORY_CORRUPT);
	}

	//	HAL_StatusTypeDef ret = FRAM_Init(&hi2c1);
	ADC_Init(&hadc);
	Modbus_Init(&huart1);
	AnalogOutput_Init(&htim3);

	// Configure ADC from FRAM
	ADC_Set_Sensor_Type(device_config.input_type);
	ADC_Set_Range(device_config.input_low, device_config.input_high);
	ADC_Set_Offset(device_config.offset_input);
	//	Modbus_Set_Slave_ID(device_config.slave_id);
	Modbus_Set_Slave_ID(1);
	Modbus_Enable(1);
	//	Modbus_Enable(device_config.comm_enable);

	AnalogOutput_Set_Range(device_config.output_low, device_config.output_high);
	AnalogOutput_Set_Direction(device_config.output_direction);
	AnalogOutput_Set_Offset(device_config.offset_output);
	AnalogOutput_Set_Decimal(device_config.output_decimal);
	/* USER CODE END 2 */

	/* Infinite loop */
	while (1)
	{

		/* USER CODE BEGIN 3 */

		ADC_Process();  // Process ADC readings
		Modbus_Process();

		// ===== REFERENCE PATTERN START =====
		/* Debounced EVENT, not a raw level.  Fires once per press, then at the
		 * auto-repeat rate for UP/DOWN only.  New_Val is reset inside the engine. */
		Keyboard.KeyPressed = Keys_GetEvent();

		if (Keyboard.KeyPressed != NO_KEY) {
			// Key event to act on

			// Check for power-on combination
			Keyboard_Scan();  // Handles K3+K4 at power-on

			// Process based on calibration mode
			if (CAL_Flag == NORMAL_MODE) {
				Keycheck_Normal();       // Process normal mode keys (includes long-press combos)
			}
			else if (CAL_Flag == CAL_MODE) {
				Keycheck_Calibration();  // Process calibration mode keys
			}

			// Wait for key release (except for UP/DOWN which can repeat)
//			if ((Keyboard.KeyPressed != KEY_DOWN) && (Keyboard.KeyPressed != KEY_UP)) {
//				while (Read_key() != NO_KEY);
//			}

//			if ((Keyboard.KeyPressed != KEY_DOWN) && (Keyboard.KeyPressed != KEY_UP)) {
//			    Keyboard.KeyPressed = NO_KEY;  // ✓ Just clear it, don't block
//			}//05/03/2026

			/*if (Keyboard.KeyPressed == KEY_ENTER) {
				while (Read_Keys() & KEY_ENTER) {
					HAL_Delay(10);
				}
				HAL_Delay(50);  // debounce after release
				Keyboard.KeyPressed = NO_KEY;
			}
			else*/ if ((Keyboard.KeyPressed != KEY_DOWN) && (Keyboard.KeyPressed != KEY_UP)) {
			    Keyboard.KeyPressed = NO_KEY;
			}
		}

		Keyboard_LED_Update();  // Update LED patterns
		// ===== REFERENCE PATTERN END =====

		// FRAM write handling
		if (ModbusHandler.pending_fram_write) {
			HAL_Delay(50);
			bool write_ok = FRAM_Write_Config(&device_config);
			ModbusHandler.pending_fram_write = false;
			if (write_ok) {
				HAL_GPIO_TogglePin(LED1_GPIO_Port, LED1_Pin);
			}
		}

		// Check for sensor fault
		bool sensor_fault = ADC_Is_Sensor_Fault();
		AnalogOutput_Set_Fault(sensor_fault);

//		if (sensor_fault) {
//			Keyboard_SetMode(MODE_SENSOR_BROKE);
//		}

		// Get current mode
		    OperationMode_e current_mode = Keyboard_GetMode();

		    if (sensor_fault) {
		        // Fault detected - go to fault mode (but preserve calibration modes!)
//		        if (current_mode != MODE_INPUT_CAL_LOW &&
//		            current_mode != MODE_INPUT_CAL_HIGH &&
//		            current_mode != MODE_OUTPUT_CAL_LOW &&
//		            current_mode != MODE_OUTPUT_CAL_HIGH)
		    	if (current_mode != MODE_INPUT_CAL      &&
		    	        current_mode != MODE_INPUT_CAL_LOW  &&
		    	        current_mode != MODE_INPUT_CAL_HIGH &&
		    	        current_mode != MODE_INPUT_CAL_DONE &&
		    	        current_mode != MODE_OUTPUT_CAL     &&
		    	        current_mode != MODE_OUTPUT_CAL_LOW &&
		    	        current_mode != MODE_OUTPUT_CAL_HIGH&&
		    	        current_mode != MODE_OUTPUT_CAL_DONE){
		            Keyboard_SetMode(MODE_SENSOR_BROKE);
		        }
		    } else {
		        // Fault cleared - AUTO-RECOVER to normal mode!
		        if (current_mode == MODE_SENSOR_BROKE) {
		            Keyboard_SetMode(MODE_NORMAL);  // ← AUTO-RECOVERY!
		        }
		    }

		// Update analog output
		float input_value = ADC_Get_Float_Value();
		AnalogOutput_Update(input_value,
				(float)device_config.input_low,
				(float)device_config.input_high);

		// Handle calibration value changes
		OperationMode_e mode = Keyboard_GetMode();
		uint8_t key = Keyboard.KeyPressed;  // From structure now

		switch (mode) {
		case MODE_INPUT_CAL_LOW:
			if (key == KEY_UP) {
			        if (device_config.cal_input_lo < 65535) device_config.cal_input_lo++;
			        if (Keyboard.Fast_Value_Change) {
			            Fast_value_Inc();
			            if (device_config.cal_input_lo > (65535 - Keyboard.New_Val))
			                device_config.cal_input_lo = 65535;
			            else
			                device_config.cal_input_lo += Keyboard.New_Val;
			        }
			    }
			    if (key == KEY_DOWN) {
			        if (device_config.cal_input_lo > 0) device_config.cal_input_lo--;   // guard underflow
			        if (Keyboard.Fast_Value_Change) {
			            Fast_value_Dec();
			            if (device_config.cal_input_lo >= Keyboard.New_Val)
			                device_config.cal_input_lo -= Keyboard.New_Val;
			            else
			                device_config.cal_input_lo = 0;
			        }
			    }
			    device_config.Inp_Cal_code1 = ADCHandler.adc_raw;
			    break;

		case MODE_INPUT_CAL_HIGH:
			 if (key == KEY_UP) {
			        if (device_config.cal_input_hi < 65535) device_config.cal_input_hi++;
			        if (Keyboard.Fast_Value_Change) {
			            Fast_value_Inc();
			            if (device_config.cal_input_hi > (65535 - Keyboard.New_Val))
			                device_config.cal_input_hi = 65535;
			            else
			                device_config.cal_input_hi += Keyboard.New_Val;
			        }
			    }
			    if (key == KEY_DOWN) {
			        if (device_config.cal_input_hi > 0) device_config.cal_input_hi--;
			        if (Keyboard.Fast_Value_Change) {
			            Fast_value_Dec();
			            if (device_config.cal_input_hi >= Keyboard.New_Val)
			                device_config.cal_input_hi -= Keyboard.New_Val;
			            else
			                device_config.cal_input_hi = 0;
			        }
			    }
			    device_config.Inp_Cal_code2 = ADCHandler.adc_raw;
			    break;
		case MODE_OUTPUT_CAL_LOW:

			AnalogOutput_Calibration_Bypass(true);

			    if (key == KEY_UP) {
			        if (device_config.cal_output_lo < 2000) device_config.cal_output_lo++;
			        if (Keyboard.Fast_Value_Change) {
			            Fast_value_Inc();
			            device_config.cal_output_lo += Keyboard.New_Val;
			            if (device_config.cal_output_lo > 2000) device_config.cal_output_lo = 2000;
			        }
			    }
			    if (key == KEY_DOWN) {
			        if (device_config.cal_output_lo > 0) device_config.cal_output_lo--;   // guard underflow
			        if (Keyboard.Fast_Value_Change) {
			            Fast_value_Dec();
			            if (device_config.cal_output_lo >= Keyboard.New_Val)
			                device_config.cal_output_lo -= Keyboard.New_Val;
			            else
			                device_config.cal_output_lo = 0;                              // floor, don't wrap
			        }
			    }

			    AnalogOutput_Set_Raw_PWM(device_config.cal_output_lo);
			    break;

		case MODE_OUTPUT_CAL_HIGH:

			AnalogOutput_Calibration_Bypass(true);

			    if (key == KEY_UP) {
			        if (device_config.cal_output_hi < 2000) device_config.cal_output_hi++;
			        if (Keyboard.Fast_Value_Change) {
			            Fast_value_Inc();
			            device_config.cal_output_hi += Keyboard.New_Val;
			            if (device_config.cal_output_hi > 2000) device_config.cal_output_hi = 2000;
			        }
			    }
			    if (key == KEY_DOWN) {
			        if (device_config.cal_output_hi > 0) device_config.cal_output_hi--;
			        if (Keyboard.Fast_Value_Change) {
			            Fast_value_Dec();
			            if (device_config.cal_output_hi >= Keyboard.New_Val)
			                device_config.cal_output_hi -= Keyboard.New_Val;
			            else
			                device_config.cal_output_hi = 0;
			        }
			    }

			    AnalogOutput_Set_Raw_PWM(device_config.cal_output_hi);
			    break;

		case MODE_INPUT_CAL_DONE:
		    ADC_Calibrate((float)device_config.cal_input_lo,
		            (float)device_config.cal_input_hi,
		            (float)device_config.Inp_Cal_code1,
		            (float)device_config.Inp_Cal_code2);

		    ADC_Save_Calibration_To_Config(&device_config);
		    FRAM_Write_Config(&device_config);
		    break;

		case MODE_OUTPUT_CAL_DONE:
		    // Disable bypass mode - return to normal temperature scaling
		    AnalogOutput_Calibration_Bypass(false);

		    // Apply the final calibration values
		    AnalogOutput_Set_Calibration(device_config.cal_output_lo,
		                                 device_config.cal_output_hi);

		    // Save to FRAM
		    FRAM_Write_Config(&device_config);
		    break;

		case MODE_RESTORE_CAL:
		    // Restore factory defaults
		    FRAM_Restore_Defaults();

		    // Read back the defaults
		    FRAM_Read_Config(&device_config);

		    // Restore ADC calibration
		    ADC_Restore_Calibration_From_Config(&device_config);

		    // Restore PWM calibration
		    AnalogOutput_Set_Calibration(device_config.cal_output_lo,
		                                 device_config.cal_output_hi);
		    break;

		case MODE_PWM_TEST:
		{
		    static uint16_t pwm_test_value = 0;   // Start at 0, not 500

		    AnalogOutput_Calibration_Bypass(true);

		    if (key == KEY_UP) {
		        if (pwm_test_value < 2000) pwm_test_value++;   // Guard before increment
		        if (Keyboard.Fast_Value_Change) {
		            Fast_value_Inc();
		            pwm_test_value += Keyboard.New_Val;
		            if (pwm_test_value > 2000) pwm_test_value = 2000;
		        }
		    }
		    if (key == KEY_DOWN) {
		        if (pwm_test_value > 0) pwm_test_value--;      // Guard: uint16_t can't go negative
		        if (Keyboard.Fast_Value_Change) {
		            Fast_value_Dec();
		            if (pwm_test_value >= Keyboard.New_Val)
		                pwm_test_value -= Keyboard.New_Val;
		            else
		                pwm_test_value = 0;
		        }
		    }

		    AnalogOutput_Set_Raw_PWM(pwm_test_value);

		    if (key == KEY_ENTER) {
		        pwm_test_value = 0;                            // Reset for next entry
		        AnalogOutput_Calibration_Bypass(false);
		        Keyboard_SetMode(MODE_NORMAL);
		    }
		}
		break;

		default:
		    break;
		}

		HAL_Delay(10);
	}
	/* USER CODE END 3 */
}

void SystemClock_Config(void)
{
	RCC_OscInitTypeDef RCC_OscInitStruct = {0};
	RCC_ClkInitTypeDef RCC_ClkInitStruct = {0};
	RCC_PeriphCLKInitTypeDef PeriphClkInit = {0};

	/** Initializes the RCC Oscillators according to the specified parameters
	 * in the RCC_OscInitTypeDef structure.
	 */
	RCC_OscInitStruct.OscillatorType = RCC_OSCILLATORTYPE_HSI;
	RCC_OscInitStruct.HSIState = RCC_HSI_ON;
	RCC_OscInitStruct.HSICalibrationValue = RCC_HSICALIBRATION_DEFAULT;
	RCC_OscInitStruct.PLL.PLLState = RCC_PLL_ON;
	RCC_OscInitStruct.PLL.PLLSource = RCC_PLLSOURCE_HSI;
	RCC_OscInitStruct.PLL.PLLMUL = RCC_PLL_MUL12;
	RCC_OscInitStruct.PLL.PREDIV = RCC_PREDIV_DIV1;
	if (HAL_RCC_OscConfig(&RCC_OscInitStruct) != HAL_OK)
	{
		Error_Handler();
	}

	/** Initializes the CPU, AHB and APB buses clocks
	 */
	RCC_ClkInitStruct.ClockType = RCC_CLOCKTYPE_HCLK|RCC_CLOCKTYPE_SYSCLK
			|RCC_CLOCKTYPE_PCLK1;
	RCC_ClkInitStruct.SYSCLKSource = RCC_SYSCLKSOURCE_PLLCLK;
	RCC_ClkInitStruct.AHBCLKDivider = RCC_SYSCLK_DIV1;
	RCC_ClkInitStruct.APB1CLKDivider = RCC_HCLK_DIV1;

	if (HAL_RCC_ClockConfig(&RCC_ClkInitStruct, FLASH_LATENCY_1) != HAL_OK)
	{
		Error_Handler();
	}
	PeriphClkInit.PeriphClockSelection = RCC_PERIPHCLK_USART1|RCC_PERIPHCLK_I2C1;
	PeriphClkInit.Usart1ClockSelection = RCC_USART1CLKSOURCE_PCLK1;
	PeriphClkInit.I2c1ClockSelection = RCC_I2C1CLKSOURCE_HSI;
	if (HAL_RCCEx_PeriphCLKConfig(&PeriphClkInit) != HAL_OK)
	{
		Error_Handler();
	}
}

static void MX_ADC_Init(void)
{

	ADC_ChannelConfTypeDef sConfig = {0};

	/** Configure the global features of the ADC (Clock, Resolution, Data Alignment and number of conversion)
	 */
	hadc.Instance = ADC1;
	hadc.Init.ClockPrescaler = ADC_CLOCK_SYNC_PCLK_DIV4;
	hadc.Init.Resolution = ADC_RESOLUTION_12B;
	hadc.Init.DataAlign = ADC_DATAALIGN_RIGHT;
	hadc.Init.ScanConvMode = ADC_SCAN_DIRECTION_FORWARD;
	hadc.Init.EOCSelection = ADC_EOC_SINGLE_CONV;
	hadc.Init.LowPowerAutoWait = DISABLE;
	hadc.Init.LowPowerAutoPowerOff = DISABLE;
	hadc.Init.ContinuousConvMode = ENABLE;
	hadc.Init.DiscontinuousConvMode = DISABLE;
	hadc.Init.ExternalTrigConv = ADC_SOFTWARE_START;
	hadc.Init.ExternalTrigConvEdge = ADC_EXTERNALTRIGCONVEDGE_NONE;
	hadc.Init.DMAContinuousRequests = ENABLE;
	hadc.Init.Overrun = ADC_OVR_DATA_PRESERVED;
	if (HAL_ADC_Init(&hadc) != HAL_OK)
	{
		Error_Handler();
	}

	/** Configure for the selected ADC regular channel to be converted.
	 */
	sConfig.Channel = ADC_CHANNEL_0;
	sConfig.Rank = ADC_RANK_CHANNEL_NUMBER;
	sConfig.SamplingTime = ADC_SAMPLETIME_239CYCLES_5;
	if (HAL_ADC_ConfigChannel(&hadc, &sConfig) != HAL_OK)
	{
		Error_Handler();
	}

	/** Configure for the selected ADC regular channel to be converted.
	 */
	sConfig.Channel = ADC_CHANNEL_1;
	if (HAL_ADC_ConfigChannel(&hadc, &sConfig) != HAL_OK)
	{
		Error_Handler();
	}

}

static void MX_CRC_Init(void)
{

	hcrc.Instance = CRC;
	hcrc.Init.DefaultInitValueUse = DEFAULT_INIT_VALUE_ENABLE;
	hcrc.Init.InputDataInversionMode = CRC_INPUTDATA_INVERSION_NONE;
	hcrc.Init.OutputDataInversionMode = CRC_OUTPUTDATA_INVERSION_DISABLE;
	hcrc.InputDataFormat = CRC_INPUTDATA_FORMAT_BYTES;
	if (HAL_CRC_Init(&hcrc) != HAL_OK)
	{
		Error_Handler();
	}

}

static void MX_I2C1_Init(void)
{

	hi2c1.Instance = I2C1;
	hi2c1.Init.Timing = 0x00201D2B;
	hi2c1.Init.OwnAddress1 = 0;
	hi2c1.Init.AddressingMode = I2C_ADDRESSINGMODE_7BIT;
	hi2c1.Init.DualAddressMode = I2C_DUALADDRESS_DISABLE;
	hi2c1.Init.OwnAddress2 = 0;
	hi2c1.Init.OwnAddress2Masks = I2C_OA2_NOMASK;
	hi2c1.Init.GeneralCallMode = I2C_GENERALCALL_DISABLE;
	hi2c1.Init.NoStretchMode = I2C_NOSTRETCH_DISABLE;
	if (HAL_I2C_Init(&hi2c1) != HAL_OK)
	{
		Error_Handler();
	}

	/** Configure Analogue filter
	 */
	if (HAL_I2CEx_ConfigAnalogFilter(&hi2c1, I2C_ANALOGFILTER_ENABLE) != HAL_OK)
	{
		Error_Handler();
	}

	/** Configure Digital filter
	 */
	if (HAL_I2CEx_ConfigDigitalFilter(&hi2c1, 0) != HAL_OK)
	{
		Error_Handler();
	}

}

static void MX_TIM3_Init(void)
{

	TIM_ClockConfigTypeDef sClockSourceConfig = {0};
	TIM_MasterConfigTypeDef sMasterConfig = {0};
	TIM_OC_InitTypeDef sConfigOC = {0};

	htim3.Instance = TIM3;
	htim3.Init.Prescaler = 11;//23;
	htim3.Init.CounterMode = TIM_COUNTERMODE_UP;
	htim3.Init.Period = 2000;
			//1000;
	htim3.Init.ClockDivision = TIM_CLOCKDIVISION_DIV1;
	htim3.Init.AutoReloadPreload = TIM_AUTORELOAD_PRELOAD_ENABLE;
	if (HAL_TIM_Base_Init(&htim3) != HAL_OK)
	{
		Error_Handler();
	}
	sClockSourceConfig.ClockSource = TIM_CLOCKSOURCE_INTERNAL;
	if (HAL_TIM_ConfigClockSource(&htim3, &sClockSourceConfig) != HAL_OK)
	{
		Error_Handler();
	}
	if (HAL_TIM_PWM_Init(&htim3) != HAL_OK)
	{
		Error_Handler();
	}
	sMasterConfig.MasterOutputTrigger = TIM_TRGO_RESET;
	sMasterConfig.MasterSlaveMode = TIM_MASTERSLAVEMODE_DISABLE;
	if (HAL_TIMEx_MasterConfigSynchronization(&htim3, &sMasterConfig) != HAL_OK)
	{
		Error_Handler();
	}
	sConfigOC.OCMode = TIM_OCMODE_PWM1;
	sConfigOC.Pulse = 0;
	sConfigOC.OCPolarity = TIM_OCPOLARITY_HIGH;//TIM_OCPOLARITY_LOW;//
	sConfigOC.OCFastMode = TIM_OCFAST_DISABLE;
	if (HAL_TIM_PWM_ConfigChannel(&htim3, &sConfigOC, TIM_CHANNEL_1) != HAL_OK)
	{
		Error_Handler();
	}
	HAL_TIM_MspPostInit(&htim3);

}

static void MX_TIM14_Init(void)
{

	htim14.Instance = TIM14;
	htim14.Init.Prescaler = 47999;
	htim14.Init.CounterMode = TIM_COUNTERMODE_UP;
	htim14.Init.Period = 9;
	htim14.Init.ClockDivision = TIM_CLOCKDIVISION_DIV1;
	htim14.Init.AutoReloadPreload = TIM_AUTORELOAD_PRELOAD_DISABLE;
	if (HAL_TIM_Base_Init(&htim14) != HAL_OK)
	{
		Error_Handler();
	}

}

static void MX_USART1_UART_Init(void)
{

	huart1.Instance = USART1;
	huart1.Init.BaudRate = 9600;
	huart1.Init.WordLength = UART_WORDLENGTH_8B;
	huart1.Init.StopBits = UART_STOPBITS_1;
	huart1.Init.Parity = UART_PARITY_NONE;
	huart1.Init.Mode = UART_MODE_TX_RX;
	huart1.Init.HwFlowCtl = UART_HWCONTROL_NONE;
	huart1.Init.OverSampling = UART_OVERSAMPLING_16;
	huart1.Init.OneBitSampling = UART_ONE_BIT_SAMPLE_DISABLE;
	huart1.AdvancedInit.AdvFeatureInit = UART_ADVFEATURE_NO_INIT;
	if (HAL_RS485Ex_Init(&huart1, UART_DE_POLARITY_HIGH, 1, 1) != HAL_OK)
	{
		Error_Handler();
	}

}

static void MX_DMA_Init(void)
{

	/* DMA controller clock enable */
	__HAL_RCC_DMA1_CLK_ENABLE();

	/* DMA interrupt init */
	/* DMA1_Channel1_IRQn interrupt configuration */
	HAL_NVIC_SetPriority(DMA1_Channel1_IRQn, 0, 0);
	HAL_NVIC_EnableIRQ(DMA1_Channel1_IRQn);
	/* DMA1_Channel2_3_IRQn interrupt configuration */
	HAL_NVIC_SetPriority(DMA1_Channel2_3_IRQn, 1, 0);
	HAL_NVIC_EnableIRQ(DMA1_Channel2_3_IRQn);

}

static void MX_GPIO_Init(void)
{
	GPIO_InitTypeDef GPIO_InitStruct = {0};

	/* GPIO Ports Clock Enable */
	__HAL_RCC_GPIOC_CLK_ENABLE();
	__HAL_RCC_GPIOF_CLK_ENABLE();
	__HAL_RCC_GPIOA_CLK_ENABLE();
	__HAL_RCC_GPIOB_CLK_ENABLE();

	/*Configure GPIO pin Output Level */
	HAL_GPIO_WritePin(GPIOC, LED1_Pin|LED2_Pin|LED3_Pin, GPIO_PIN_RESET);

	/*Configure GPIO pin Output Level */
	HAL_GPIO_WritePin(LED4_GPIO_Port, LED4_Pin, GPIO_PIN_RESET);

	/*Configure GPIO pin Output Level */
	HAL_GPIO_WritePin(GPIOB, HI_INP_Pin|LO_INP_Pin, GPIO_PIN_RESET);

	/*Configure GPIO pins : LED1_Pin LED2_Pin LED3_Pin */
	GPIO_InitStruct.Pin = LED1_Pin|LED2_Pin|LED3_Pin;
	GPIO_InitStruct.Mode = GPIO_MODE_OUTPUT_PP;
	GPIO_InitStruct.Pull = GPIO_NOPULL;
	GPIO_InitStruct.Speed = GPIO_SPEED_FREQ_LOW;
	HAL_GPIO_Init(GPIOC, &GPIO_InitStruct);

	/*Configure GPIO pin : LED4_Pin */
	GPIO_InitStruct.Pin = LED4_Pin;
	GPIO_InitStruct.Mode = GPIO_MODE_OUTPUT_PP;
	GPIO_InitStruct.Pull = GPIO_NOPULL;
	GPIO_InitStruct.Speed = GPIO_SPEED_FREQ_LOW;
	HAL_GPIO_Init(LED4_GPIO_Port, &GPIO_InitStruct);

	/*Configure GPIO pin : K1_Pin */
	GPIO_InitStruct.Pin = K1_Pin;
	GPIO_InitStruct.Mode = GPIO_MODE_INPUT;
	GPIO_InitStruct.Pull = GPIO_PULLUP;
	HAL_GPIO_Init(K1_GPIO_Port, &GPIO_InitStruct);

	/*Configure GPIO pins : K2_Pin K3_Pin K4_Pin */
	GPIO_InitStruct.Pin = K2_Pin|K3_Pin|K4_Pin;
	GPIO_InitStruct.Mode = GPIO_MODE_INPUT;
	GPIO_InitStruct.Pull = GPIO_PULLUP;
	HAL_GPIO_Init(GPIOB, &GPIO_InitStruct);

	/*Configure GPIO pins : HI_INP_Pin LO_INP_Pin */
	GPIO_InitStruct.Pin = HI_INP_Pin|LO_INP_Pin;
	GPIO_InitStruct.Mode = GPIO_MODE_OUTPUT_PP;
	GPIO_InitStruct.Pull = GPIO_NOPULL;
	GPIO_InitStruct.Speed = GPIO_SPEED_FREQ_LOW;
	HAL_GPIO_Init(GPIOB, &GPIO_InitStruct);

	/* USER CODE BEGIN MX_GPIO_Init_2 */
	HAL_GPIO_WritePin(GPIOC, LED1_Pin|LED2_Pin|LED3_Pin, GPIO_PIN_SET);
	HAL_GPIO_WritePin(GPIOB, HI_INP_Pin|LO_INP_Pin, GPIO_PIN_SET);
	HAL_GPIO_WritePin(LED4_GPIO_Port, LED4_Pin, GPIO_PIN_SET);

	/* USER CODE END MX_GPIO_Init_2 */
}

void Error_Handler(void)
{
	__disable_irq();
	while (1)
	{
	}
}
